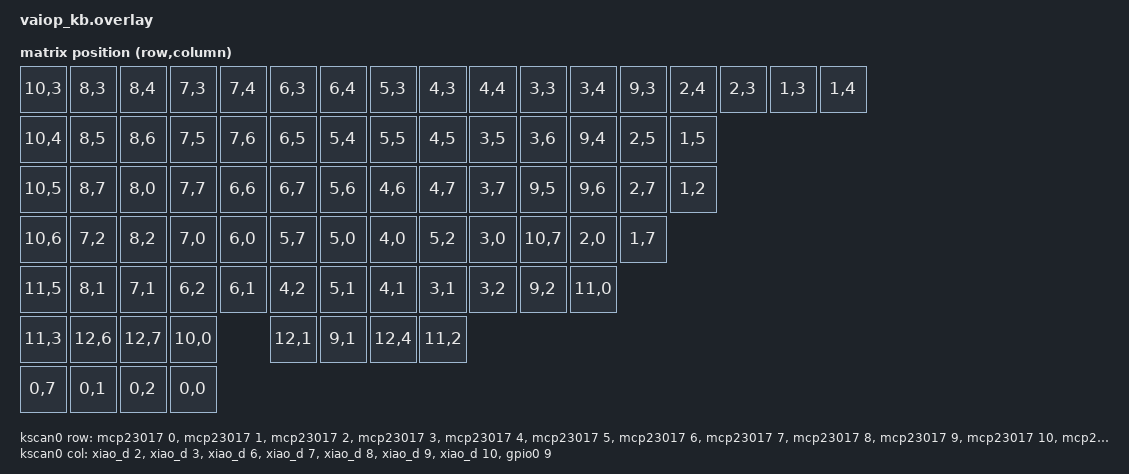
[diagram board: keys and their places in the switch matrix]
#include <dt-bindings/zmk/matrix_transform.h>

/ {
    chosen {
        zmk,kscan = &kscan0;
        zmk,matrix-transform = &default_transform;
    };

default_transform: keymap_transform_0 {
    compatible = "zmk,matrix-transform";
    columns = <8>;
    rows = <13>;
    map = <
    /* ESC  F1       F2       F3       F4       F5       F6       F7       F8       F9       F10      F11      F12      PRNSCR   NUMLK    INS      DEL  */
       RC(10,3) RC(8,3) RC(8,4) RC(7,3) RC(7,4) RC(6,3) RC(6,4) RC(5,3) RC(4,3) RC(4,4) RC(3,3) RC(3,4) RC(9,3) RC(2,4) RC(2,3) RC(1,3) RC(1,4)
    /* `~    1        2        3        4        5        6        7        8        9        0        -        =        BSPC */
       RC(10,4) RC(8,5) RC(8,6) RC(7,5) RC(7,6) RC(6,5) RC(5,4) RC(5,5) RC(4,5) RC(3,5) RC(3,6) RC(9,4) RC(2,5) RC(1,5)
    /* TAB   Q        W        E        R        T        Y        U        I        O        P        [        ]        \    */
       RC(10,5) RC(8,7) RC(8,0) RC(7,7) RC(6,6) RC(6,7) RC(5,6) RC(4,6) RC(4,7) RC(3,7) RC(9,5) RC(9,6) RC(2,7) RC(1,2)
    /* CAPS  A        S        D        F        G        H        J        K        L        ;        '        ENTER */
       RC(10,6) RC(7,2) RC(8,2) RC(7,0) RC(6,0) RC(5,7) RC(5,0) RC(4,0) RC(5,2) RC(3,0) RC(10,7) RC(2,0) RC(1,7)
    /* LSHFT Z        X        C        V        B        N        M        ,        .        /        RSHFT */
       RC(11,5) RC(8,1) RC(7,1) RC(6,2) RC(6,1) RC(4,2) RC(5,1) RC(4,1) RC(3,1) RC(3,2) RC(9,2) RC(11,0)
    /* LCTRL GUI      LALT     SPACE    RALT     MENU     FN       RCTRL */
       RC(11,3) RC(12,6) RC(12,7) RC(10,0) RC(12,1) RC(9,1) RC(12,4) RC(11,2)
    /* UP    LEFT     DOWN     RIGHT */
       RC(0,7) RC(0,1) RC(0,2) RC(0,0)
    >;
};

    kscan0: kscan {
        compatible = "zmk,kscan-gpio-matrix";
        wakeup-source;
        diode-direction = "col2row";

        col-gpios
            = <&xiao_d  2 GPIO_ACTIVE_HIGH>   /* Col 0 - FPC 21 */
            , <&xiao_d  3 GPIO_ACTIVE_HIGH>   /* Col 1 - FPC 20 */
            , <&xiao_d  6 GPIO_ACTIVE_HIGH>   /* Col 2 - FPC 19 */
            , <&xiao_d  7 GPIO_ACTIVE_HIGH>   /* Col 3 - FPC 18 */
            , <&xiao_d  8 GPIO_ACTIVE_HIGH>   /* Col 4 - FPC 17 */
            , <&xiao_d  9 GPIO_ACTIVE_HIGH>   /* Col 5 - FPC 16 */
            , <&xiao_d 10 GPIO_ACTIVE_HIGH>   /* Col 6 - FPC 15 */
            , <&gpio0   9 GPIO_ACTIVE_HIGH>   /* Col 7 - FPC 14 (Plus castellated P0.09 ※要確認) */
            ;

        row-gpios
            = <&mcp23017  0 (GPIO_ACTIVE_HIGH | GPIO_PULL_DOWN)>  /* Row 0  - FPC 30 */
            , <&mcp23017  1 (GPIO_ACTIVE_HIGH | GPIO_PULL_DOWN)>  /* Row 1  - FPC 29 */
            , <&mcp23017  2 (GPIO_ACTIVE_HIGH | GPIO_PULL_DOWN)>  /* Row 2  - FPC 28 */
            , <&mcp23017  3 (GPIO_ACTIVE_HIGH | GPIO_PULL_DOWN)>  /* Row 3  - FPC 27 */
            , <&mcp23017  4 (GPIO_ACTIVE_HIGH | GPIO_PULL_DOWN)>  /* Row 4  - FPC 26 */
            , <&mcp23017  5 (GPIO_ACTIVE_HIGH | GPIO_PULL_DOWN)>  /* Row 5  - FPC 25 */
            , <&mcp23017  6 (GPIO_ACTIVE_HIGH | GPIO_PULL_DOWN)>  /* Row 6  - FPC 24 */
            , <&mcp23017  7 (GPIO_ACTIVE_HIGH | GPIO_PULL_DOWN)>  /* Row 7  - FPC 23 */
            , <&mcp23017  8 (GPIO_ACTIVE_HIGH | GPIO_PULL_DOWN)>  /* Row 8  - FPC 22 */
            , <&mcp23017  9 (GPIO_ACTIVE_HIGH | GPIO_PULL_DOWN)>  /* Row 9  - FPC 13 */
            , <&mcp23017 10 (GPIO_ACTIVE_HIGH | GPIO_PULL_DOWN)>  /* Row 10 - FPC 8  */
            , <&mcp23017 11 (GPIO_ACTIVE_HIGH | GPIO_PULL_DOWN)>  /* Row 11 - FPC 7+12 merged */
            , <&mcp23017 12 (GPIO_ACTIVE_HIGH | GPIO_PULL_DOWN)>  /* Row 12 - FPC 9+10+11 merged */
            ;
    };
};

&i2c0 {
    status = "okay";
    pinctrl-0 = <&i2c0_default>;
    pinctrl-names = "default";
    clock-frequency = <I2C_BITRATE_FAST>;

    mcp23017: mcp23017@20 {
        compatible = "microchip,mcp230xx";
        reg = <0x20>;
        gpio-controller;
        #gpio-cells = <2>;
        ngpios = <16>;
        /* GPA0〜GPA7 : Row 0〜7          */
        /* GPB0〜GPB4 : Row 8〜12         */
        /* GPB5〜GPB7 : マウスボタン予約  */
    };
};

&pinctrl {
    i2c0_default: i2c0_default {
        group1 {
            psels = <NRF_PSEL(TWIM_SDA, 0, 4)>,   /* D4 = P0.04 */
                    <NRF_PSEL(TWIM_SCL, 0, 5)>;    /* D5 = P0.05 */
        };
    };
};
